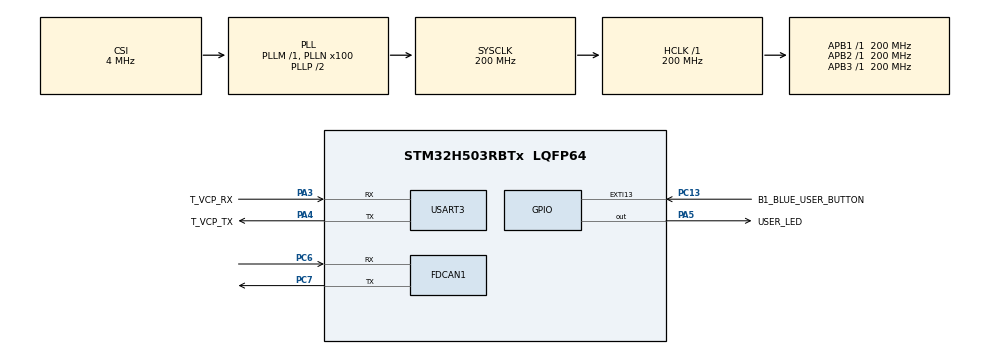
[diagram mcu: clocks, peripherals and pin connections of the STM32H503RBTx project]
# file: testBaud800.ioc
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BOOTPATH.BootPathName=LEGACY
BOOTPATH.UserSelectedBootPath=LEGACY
FDCAN1.CalculateBaudRateNominal=800000
FDCAN1.CalculateTimeBitNominal=1250
FDCAN1.CalculateTimeQuantumNominal=125.0
FDCAN1.NominalPrescaler=25
FDCAN1.NominalTimeSeg1=8
FDCAN1.NominalTimeSeg2=1
Mcu.Family=STM32H5
Mcu.Name=STM32H503RBTx
Mcu.Package=LQFP64
NVIC.EXTI13_IRQn=true\:0\:0\:false\:false\:true\:true\:true\:true
NVIC.FDCAN1_IT0_IRQn=true\:0\:0\:false\:false\:true\:true\:true\:true
NVIC.PriorityGroup=NVIC_PRIORITYGROUP_4
NVIC.USART3_IRQn=true\:0\:0\:false\:false\:true\:true\:true\:true
PA3.GPIO_Label=T_VCP_RX
PA3.Mode=Asynchronous
PA3.Signal=USART3_RX
PA4.GPIO_Label=T_VCP_TX
PA4.Mode=Asynchronous
PA4.Signal=USART3_TX
PA5.GPIO_Label=USER_LED
PA5.Signal=GPIO_Output
PC13.GPIO_Label=B1_BLUE_USER_BUTTON
PC13.GPIO_ModeDefaultEXTI=GPIO_MODE_IT_FALLING
PC13.Signal=GPXTI13
PC6.Mode=FDCAN_Activate
PC6.Signal=FDCAN1_RX
PC7.Mode=FDCAN_Activate
PC7.Signal=FDCAN1_TX
PH0-OSC_IN(PH0).Mode=HSE-External-Oscillator
PH0-OSC_IN(PH0).Signal=RCC_OSC_IN
PH1-OSC_OUT(PH1).Mode=HSE-External-Oscillator
PH1-OSC_OUT(PH1).Signal=RCC_OSC_OUT
ProjectManager.HeapSize=0x200
ProjectManager.StackSize=0x400
ProjectManager.TargetToolchain=STM32CubeIDE
RCC.ADCFreq_Value=200000000
RCC.AHBFreq_Value=200000000
RCC.APB1Freq_Value=200000000
RCC.APB1TimFreq_Value=200000000
RCC.APB2Freq_Value=200000000
RCC.APB2TimFreq_Value=200000000
RCC.APB3Freq_Value=200000000
RCC.CSI_VALUE=4000000
RCC.CortexFreq_Value=200000000
RCC.EPOD_VALUE=4000000
RCC.FDCANClockSelection=RCC_FDCANCLKSOURCE_PLL1Q
RCC.HCLKFreq_Value=200000000
RCC.HSE_VALUE=24000000
RCC.HSI48_VALUE=48000000
RCC.HSIDiv=RCC_HSI_DIV1
RCC.HSI_VALUE=64000000
RCC.LSE_VALUE=32768
RCC.LSIRC_VALUE=32000
RCC.PLLFRACN=0
RCC.PLLN=100
RCC.SYSCLKFreq_VALUE=200000000
RCC.SYSCLKSource=RCC_SYSCLKSOURCE_PLLCLK
RCC.USBFreq_Value=48000000
RCC.VCOOutputFreq_Value=400000000
USART3.VirtualMode-Asynchronous=VM_ASYNC
VP_BOOTPATH_VS_BOOTPATH.Mode=BP_Activate
VP_CORTEX_M33_NS_VS_Hclk.Mode=Hclk_Mode
VP_MEMORYMAP_VS_MEMORYMAP.Mode=CurAppReg
VP_PWR_VS_DBSignals.Mode=DisableDeadBatterySignals
VP_PWR_VS_LPOM.Mode=PowerOptimisation
VP_PWR_VS_SECSignals.Mode=Security/Privilege
board=NUCLEO-H503RB

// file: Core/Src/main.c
/* USER CODE BEGIN Header */
/**
  ******************************************************************************
  * @file           : main.c
  * @brief          : Main program body
  ******************************************************************************
  * @attention
  *
  * Copyright (c) 2025 STMicroelectronics.
  * All rights reserved.
  *
  * This software is licensed under terms that can be found in the LICENSE file
  * in the root directory of this software component.
  * If no LICENSE file comes with this software, it is provided AS-IS.
  *
  ******************************************************************************
  */
/* USER CODE END Header */
#include "main.h"

/* USER CODE BEGIN Includes */
#include <stdio.h>
/* USER CODE END Includes */

FDCAN_HandleTypeDef hfdcan1;

UART_HandleTypeDef huart3;

void SystemClock_Config(void);
static void MX_GPIO_Init(void);
static void MX_FDCAN1_Init(void);
static void MX_USART3_UART_Init(void);
/* USER CODE BEGIN PFP */
void Print_CAN_Error(void);
/* USER CODE END PFP */

/* USER CODE BEGIN 0 */
volatile uint8_t Counter = 0;
typedef struct{
	FDCAN_TxHeaderTypeDef   TxHeader;
	FDCAN_RxHeaderTypeDef   RxHeader;
	uint32_t msgID;
	uint8_t dataTx[2];
	uint8_t dataRx[2];
} CAN_SET;

CAN_SET CAN_Payload;

/* USER CODE END 0 */

int main(void)
{

  /* MCU Configuration--------------------------------------------------------*/

  /* Reset of all peripherals, Initializes the Flash interface and the Systick. */
  HAL_Init();

  /* Configure the system clock */
  SystemClock_Config();

  /* Initialize all configured peripherals */
  MX_GPIO_Init();
  MX_FDCAN1_Init();
  MX_USART3_UART_Init();

  /* Infinite loop */
  while (1)
  {

  }
}

void SystemClock_Config(void)
{
  RCC_OscInitTypeDef RCC_OscInitStruct = {0};
  RCC_ClkInitTypeDef RCC_ClkInitStruct = {0};

  /** Configure the main internal regulator output voltage
  */
  __HAL_PWR_VOLTAGESCALING_CONFIG(PWR_REGULATOR_VOLTAGE_SCALE1);

  while(!__HAL_PWR_GET_FLAG(PWR_FLAG_VOSRDY)) {}

  /** Initializes the RCC Oscillators according to the specified parameters
  * in the RCC_OscInitTypeDef structure.
  */
  RCC_OscInitStruct.OscillatorType = RCC_OSCILLATORTYPE_CSI;
  RCC_OscInitStruct.CSIState = RCC_CSI_ON;
  RCC_OscInitStruct.CSICalibrationValue = RCC_CSICALIBRATION_DEFAULT;
  RCC_OscInitStruct.PLL.PLLState = RCC_PLL_ON;
  RCC_OscInitStruct.PLL.PLLSource = RCC_PLL1_SOURCE_CSI;
  RCC_OscInitStruct.PLL.PLLM = 1;
  RCC_OscInitStruct.PLL.PLLN = 100;
  RCC_OscInitStruct.PLL.PLLP = 2;
  RCC_OscInitStruct.PLL.PLLQ = 2;
  RCC_OscInitStruct.PLL.PLLR = 2;
  RCC_OscInitStruct.PLL.PLLRGE = RCC_PLL1_VCIRANGE_2;
  RCC_OscInitStruct.PLL.PLLVCOSEL = RCC_PLL1_VCORANGE_WIDE;
  RCC_OscInitStruct.PLL.PLLFRACN = 0;
  if (HAL_RCC_OscConfig(&RCC_OscInitStruct) != HAL_OK)
  {
    Error_Handler();
  }

  /** Initializes the CPU, AHB and APB buses clocks
  */
  RCC_ClkInitStruct.ClockType = RCC_CLOCKTYPE_HCLK|RCC_CLOCKTYPE_SYSCLK
                              |RCC_CLOCKTYPE_PCLK1|RCC_CLOCKTYPE_PCLK2
                              |RCC_CLOCKTYPE_PCLK3;
  RCC_ClkInitStruct.SYSCLKSource = RCC_SYSCLKSOURCE_PLLCLK;
  RCC_ClkInitStruct.AHBCLKDivider = RCC_SYSCLK_DIV1;
  RCC_ClkInitStruct.APB1CLKDivider = RCC_HCLK_DIV1;
  RCC_ClkInitStruct.APB2CLKDivider = RCC_HCLK_DIV1;
  RCC_ClkInitStruct.APB3CLKDivider = RCC_HCLK_DIV1;

  if (HAL_RCC_ClockConfig(&RCC_ClkInitStruct, FLASH_LATENCY_5) != HAL_OK)
  {
    Error_Handler();
  }

  /** Configure the programming delay
  */
  __HAL_FLASH_SET_PROGRAM_DELAY(FLASH_PROGRAMMING_DELAY_2);
}

static void MX_FDCAN1_Init(void)
{

  hfdcan1.Instance = FDCAN1;
  hfdcan1.Init.ClockDivider = FDCAN_CLOCK_DIV1;
  hfdcan1.Init.FrameFormat = FDCAN_FRAME_CLASSIC;
  hfdcan1.Init.Mode = FDCAN_MODE_NORMAL;
  hfdcan1.Init.AutoRetransmission = DISABLE;
  hfdcan1.Init.TransmitPause = DISABLE;
  hfdcan1.Init.ProtocolException = DISABLE;
  hfdcan1.Init.NominalPrescaler = 25;
  hfdcan1.Init.NominalSyncJumpWidth = 1;
  hfdcan1.Init.NominalTimeSeg1 = 8;
  hfdcan1.Init.NominalTimeSeg2 = 1;
  hfdcan1.Init.DataPrescaler = 1;
  hfdcan1.Init.DataSyncJumpWidth = 1;
  hfdcan1.Init.DataTimeSeg1 = 1;
  hfdcan1.Init.DataTimeSeg2 = 1;
  hfdcan1.Init.StdFiltersNbr = 0;
  hfdcan1.Init.ExtFiltersNbr = 0;
  hfdcan1.Init.TxFifoQueueMode = FDCAN_TX_FIFO_OPERATION;
  if (HAL_FDCAN_Init(&hfdcan1) != HAL_OK)
  {
    Error_Handler();
  }
  /* USER CODE BEGIN FDCAN1_Init 2 */
  /* USER CODE BEGIN FDCAN1_Init 2 */
    if (HAL_FDCAN_Start(&hfdcan1) != HAL_OK) {
    	 /* Notification Error */
    	Error_Handler();
    }
    if (HAL_FDCAN_ActivateNotification(&hfdcan1, FDCAN_IT_RX_FIFO0_NEW_MESSAGE, 0) != HAL_OK)
    {
  	/* Notification Error */
  	Error_Handler();
    }
  /* USER CODE END FDCAN1_Init 2 */

}

static void MX_USART3_UART_Init(void)
{

  huart3.Instance = USART3;
  huart3.Init.BaudRate = 115200;
  huart3.Init.WordLength = UART_WORDLENGTH_8B;
  huart3.Init.StopBits = UART_STOPBITS_1;
  huart3.Init.Parity = UART_PARITY_NONE;
  huart3.Init.Mode = UART_MODE_TX_RX;
  huart3.Init.HwFlowCtl = UART_HWCONTROL_NONE;
  huart3.Init.OverSampling = UART_OVERSAMPLING_16;
  huart3.Init.OneBitSampling = UART_ONE_BIT_SAMPLE_DISABLE;
  huart3.Init.ClockPrescaler = UART_PRESCALER_DIV1;
  huart3.AdvancedInit.AdvFeatureInit = UART_ADVFEATURE_NO_INIT;
  if (HAL_UART_Init(&huart3) != HAL_OK)
  {
    Error_Handler();
  }
  if (HAL_UARTEx_SetTxFifoThreshold(&huart3, UART_TXFIFO_THRESHOLD_1_8) != HAL_OK)
  {
    Error_Handler();
  }
  if (HAL_UARTEx_SetRxFifoThreshold(&huart3, UART_RXFIFO_THRESHOLD_1_8) != HAL_OK)
  {
    Error_Handler();
  }
  if (HAL_UARTEx_DisableFifoMode(&huart3) != HAL_OK)
  {
    Error_Handler();
  }

}

static void MX_GPIO_Init(void)
{
  GPIO_InitTypeDef GPIO_InitStruct = {0};

  /* GPIO Ports Clock Enable */
  __HAL_RCC_GPIOC_CLK_ENABLE();
  __HAL_RCC_GPIOH_CLK_ENABLE();
  __HAL_RCC_GPIOA_CLK_ENABLE();

  /*Configure GPIO pin Output Level */
  HAL_GPIO_WritePin(USER_LED_GPIO_Port, USER_LED_Pin, GPIO_PIN_RESET);

  /*Configure GPIO pin : B1_BLUE_USER_BUTTON_Pin */
  GPIO_InitStruct.Pin = B1_BLUE_USER_BUTTON_Pin;
  GPIO_InitStruct.Mode = GPIO_MODE_IT_FALLING;
  GPIO_InitStruct.Pull = GPIO_NOPULL;
  HAL_GPIO_Init(B1_BLUE_USER_BUTTON_GPIO_Port, &GPIO_InitStruct);

  /*Configure GPIO pin : USER_LED_Pin */
  GPIO_InitStruct.Pin = USER_LED_Pin;
  GPIO_InitStruct.Mode = GPIO_MODE_OUTPUT_PP;
  GPIO_InitStruct.Pull = GPIO_NOPULL;
  GPIO_InitStruct.Speed = GPIO_SPEED_FREQ_LOW;
  HAL_GPIO_Init(USER_LED_GPIO_Port, &GPIO_InitStruct);

  /* EXTI interrupt init*/
  HAL_NVIC_SetPriority(EXTI13_IRQn, 0, 0);
  HAL_NVIC_EnableIRQ(EXTI13_IRQn);

}

/* USER CODE BEGIN 4 */
void HAL_FDCAN_RxFifo0Callback(FDCAN_HandleTypeDef *hfdcan, uint32_t RxFifo0ITs)
{
	if((RxFifo0ITs & FDCAN_IT_RX_FIFO0_NEW_MESSAGE) != RESET)
	{
		/* Retreive Rx messages from RX FIFO0 */
		if (HAL_FDCAN_GetRxMessage(hfdcan, FDCAN_RX_FIFO0, &CAN_Payload.RxHeader,CAN_Payload.dataRx) != HAL_OK)
		{
			/* Reception Error */
			Error_Handler();
		}
		if (HAL_FDCAN_ActivateNotification(hfdcan, FDCAN_IT_RX_FIFO0_NEW_MESSAGE, 0) != HAL_OK)
		{
			/* Notification Error */
			Error_Handler();
		}
	}
	if(CAN_Payload.dataRx[0] == 0x1){
		HAL_GPIO_TogglePin(GPIOA, GPIO_PIN_5);
	}
}
void Print_CAN_Error(void) {
    uint32_t lec = (FDCAN1->PSR) & 0x7; /*Last error code*/

    switch (lec) {
        case 0b000:
            printf("No CAN error occurred\r\n");
            break;
        case 0b001:
            printf("Stuff error\r\n");
            break;
        case 0b010:
            printf("Form error\r\n");
            break;
        case 0b011:
            printf("Ack error\r\n");
            break;
        case 0b100:
            printf("Bit error ->Bit1 error:\r\n");
            break;
        case 0b101:
            printf("Bit error ->Bit0 error\r\n");
            break;
        case 0b110:
            printf("CRC error: CRC mismatch on received frame\r\n");
            break;
        case 0b111:
            printf("LEC unchanged: No event since last read\r\n"); /*When read lec it reset to 111*/
            break;
    }
}

void HAL_GPIO_EXTI_Falling_Callback(uint16_t GPIO_Pin){

	if(GPIO_Pin == B1_BLUE_USER_BUTTON_Pin){
		Print_CAN_Error();
	}
}
int __io_putchar(int ch)
{
    HAL_UART_Transmit(&huart3, (uint8_t*)&ch, 1,1000);
    return ch;
}

/* USER CODE END 4 */

void Error_Handler(void)
{
  __disable_irq();
  while (1)
  {
  }
}
